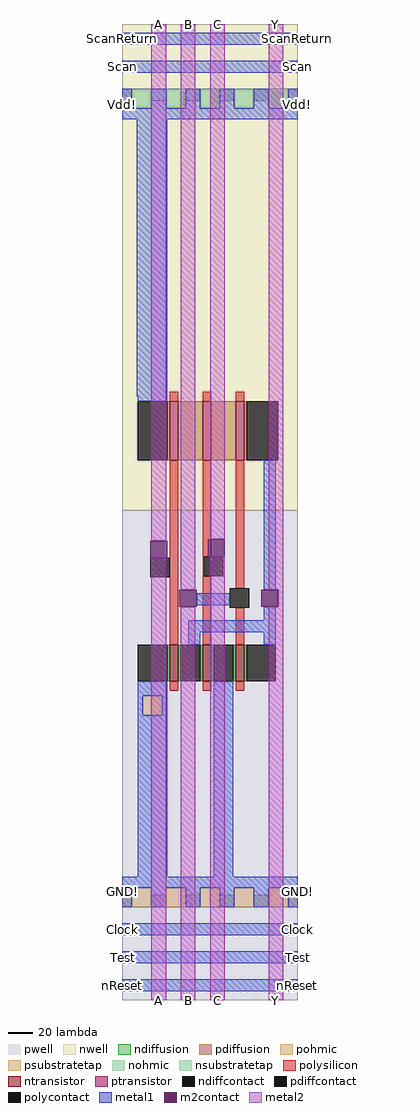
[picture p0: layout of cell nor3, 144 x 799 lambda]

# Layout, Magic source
magic
tech c035u
<< nwell >>
rect 0 401 144 799
<< pwell >>
rect 0 0 144 401
<< polysilicon >>
rect 39 490 46 498
rect 66 490 73 498
rect 93 490 100 498
rect 39 291 46 442
rect 66 363 73 442
rect 66 347 67 363
rect 66 291 73 347
rect 93 337 100 442
rect 93 291 100 321
rect 39 253 46 261
rect 66 253 73 261
rect 93 253 100 261
<< ndiffusion >>
rect 37 261 39 291
rect 46 261 48 291
rect 64 261 66 291
rect 73 261 75 291
rect 91 261 93 291
rect 100 261 102 291
<< pdiffusion >>
rect 37 442 39 490
rect 46 442 66 490
rect 73 442 93 490
rect 100 442 102 490
<< pohmic >>
rect 0 76 8 86
rect 24 76 36 86
rect 52 76 64 86
rect 80 76 92 86
rect 108 76 120 86
rect 136 76 144 86
<< nohmic >>
rect 0 736 8 746
rect 24 736 36 746
rect 52 736 64 746
rect 80 736 92 746
rect 108 736 120 746
rect 136 736 144 746
<< ntransistor >>
rect 39 261 46 291
rect 66 261 73 291
rect 93 261 100 291
<< ptransistor >>
rect 39 442 46 490
rect 66 442 73 490
rect 93 442 100 490
<< polycontact >>
rect 23 346 39 362
rect 67 347 83 363
rect 88 321 104 337
<< ndiffcontact >>
rect 13 261 37 291
rect 48 261 64 291
rect 75 261 91 291
rect 102 261 126 291
<< pdiffcontact >>
rect 13 442 37 490
rect 102 442 128 490
<< psubstratetap >>
rect 17 233 33 249
rect 8 76 24 92
rect 36 76 52 92
rect 64 76 80 92
rect 92 76 108 92
rect 120 76 136 92
<< nsubstratetap >>
rect 8 730 24 746
rect 36 730 52 746
rect 64 730 80 746
rect 92 730 108 746
rect 120 730 136 746
<< metal1 >>
rect 0 782 144 792
rect 0 759 144 769
rect 0 730 8 746
rect 24 730 36 746
rect 52 730 64 746
rect 80 730 92 746
rect 108 730 120 746
rect 136 730 144 746
rect 0 721 144 730
rect 12 494 37 721
rect 13 490 37 494
rect 61 323 88 333
rect 116 336 126 442
rect 116 311 126 322
rect 54 301 126 311
rect 54 291 64 301
rect 116 291 126 301
rect 13 249 37 261
rect 13 233 17 249
rect 33 233 37 249
rect 13 101 37 233
rect 75 101 91 261
rect 0 92 144 101
rect 0 76 8 92
rect 24 76 36 92
rect 52 76 64 92
rect 80 76 92 92
rect 108 76 120 92
rect 136 76 144 92
rect 0 53 144 63
rect 0 30 144 40
rect 0 7 144 17
<< m2contact >>
rect 23 362 37 376
rect 70 363 84 377
rect 47 322 61 336
rect 114 322 128 336
<< metal2 >>
rect 24 376 36 799
rect 24 0 36 362
rect 48 336 60 799
rect 72 377 84 799
rect 48 0 60 322
rect 72 0 84 363
rect 120 336 132 799
rect 128 322 132 336
rect 120 0 132 322
<< labels >>
rlabel metal1 144 76 144 101 7 GND!
rlabel metal1 144 53 144 63 7 Clock
rlabel metal1 144 30 144 40 7 Test
rlabel metal1 144 7 144 17 7 nReset
rlabel metal1 0 76 0 101 3 GND!
rlabel metal1 0 53 0 63 3 Clock
rlabel metal1 0 30 0 40 3 Test
rlabel metal1 0 7 0 17 3 nReset
rlabel metal2 120 0 132 0 1 Y
rlabel metal1 144 782 144 792 1 ScanReturn
rlabel metal1 144 759 144 769 1 Scan
rlabel metal1 144 721 144 746 1 Vdd!
rlabel metal1 0 759 0 769 3 Scan
rlabel metal1 0 782 0 792 3 ScanReturn
rlabel metal1 0 721 0 746 3 Vdd!
rlabel metal2 72 799 84 799 5 C
rlabel metal2 120 799 132 799 5 Y
rlabel metal2 48 799 60 799 5 B
rlabel metal2 24 799 36 799 5 A
rlabel metal2 24 0 36 0 1 A
rlabel metal2 48 0 60 0 1 B
rlabel metal2 72 0 84 0 1 C
<< end >>
